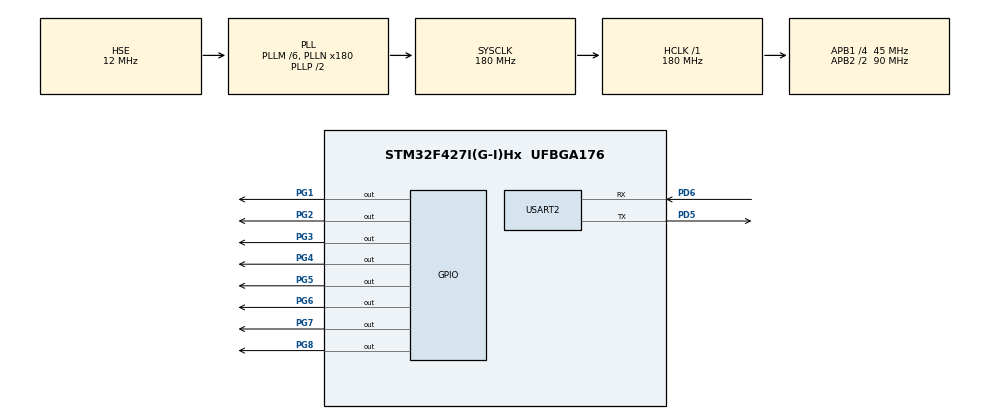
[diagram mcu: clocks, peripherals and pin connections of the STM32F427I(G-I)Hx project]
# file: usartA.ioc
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Dma.Request0=USART2_RX
Dma.Request1=USART2_TX
Dma.USART2_RX.0.Direction=DMA_PERIPH_TO_MEMORY
Dma.USART2_RX.0.FIFOMode=DMA_FIFOMODE_DISABLE
Dma.USART2_RX.0.Instance=DMA1_Stream5
Dma.USART2_RX.0.MemDataAlignment=DMA_MDATAALIGN_BYTE
Dma.USART2_RX.0.MemInc=DMA_MINC_ENABLE
Dma.USART2_RX.0.Mode=DMA_NORMAL
Dma.USART2_RX.0.PeriphDataAlignment=DMA_PDATAALIGN_BYTE
Dma.USART2_RX.0.PeriphInc=DMA_PINC_DISABLE
Dma.USART2_RX.0.Priority=DMA_PRIORITY_LOW
Dma.USART2_TX.1.Direction=DMA_MEMORY_TO_PERIPH
Dma.USART2_TX.1.FIFOMode=DMA_FIFOMODE_DISABLE
Dma.USART2_TX.1.Instance=DMA1_Stream6
Dma.USART2_TX.1.MemDataAlignment=DMA_MDATAALIGN_BYTE
Dma.USART2_TX.1.MemInc=DMA_MINC_ENABLE
Dma.USART2_TX.1.Mode=DMA_NORMAL
Dma.USART2_TX.1.PeriphDataAlignment=DMA_PDATAALIGN_BYTE
Dma.USART2_TX.1.PeriphInc=DMA_PINC_DISABLE
Dma.USART2_TX.1.Priority=DMA_PRIORITY_LOW
Mcu.Family=STM32F4
Mcu.Name=STM32F427I(G-I)Hx
Mcu.Package=UFBGA176
NVIC.DMA1_Stream5_IRQn=true\:0\:0\:false\:false\:true\:false\:true\:true
NVIC.DMA1_Stream6_IRQn=true\:0\:0\:false\:false\:true\:false\:true\:true
NVIC.PriorityGroup=NVIC_PRIORITYGROUP_4
NVIC.USART2_IRQn=true\:0\:0\:false\:false\:true\:false\:true\:true
PA13.Mode=Serial_Wire
PA13.Signal=SYS_JTMS-SWDIO
PA14.Mode=Serial_Wire
PA14.Signal=SYS_JTCK-SWCLK
PD5.Mode=Asynchronous
PD5.Signal=USART2_TX
PD6.Mode=Asynchronous
PD6.Signal=USART2_RX
PG1.GPIO_PuPd=GPIO_PULLUP
PG1.PinState=GPIO_PIN_SET
PG1.Signal=GPIO_Output
PG2.GPIO_PuPd=GPIO_PULLUP
PG2.PinState=GPIO_PIN_SET
PG2.Signal=GPIO_Output
PG3.GPIO_PuPd=GPIO_PULLUP
PG3.PinState=GPIO_PIN_SET
PG3.Signal=GPIO_Output
PG4.GPIO_PuPd=GPIO_PULLUP
PG4.PinState=GPIO_PIN_SET
PG4.Signal=GPIO_Output
PG5.GPIO_PuPd=GPIO_PULLUP
PG5.PinState=GPIO_PIN_SET
PG5.Signal=GPIO_Output
PG6.GPIO_PuPd=GPIO_PULLUP
PG6.PinState=GPIO_PIN_SET
PG6.Signal=GPIO_Output
PG7.GPIO_PuPd=GPIO_PULLUP
PG7.PinState=GPIO_PIN_SET
PG7.Signal=GPIO_Output
PG8.GPIO_PuPd=GPIO_PULLUP
PG8.PinState=GPIO_PIN_SET
PG8.Signal=GPIO_Output
PH0/OSC_IN.Mode=HSE-External-Oscillator
PH0/OSC_IN.Signal=RCC_OSC_IN
PH1/OSC_OUT.Mode=HSE-External-Oscillator
PH1/OSC_OUT.Signal=RCC_OSC_OUT
ProjectManager.HeapSize=0x200
ProjectManager.StackSize=0x400
ProjectManager.TargetToolchain=MDK-ARM V5.32
RCC.48MHZClocksFreq_Value=90000000
RCC.AHBFreq_Value=180000000
RCC.APB1CLKDivider=RCC_HCLK_DIV4
RCC.APB1Freq_Value=45000000
RCC.APB1TimFreq_Value=90000000
RCC.APB2CLKDivider=RCC_HCLK_DIV2
RCC.APB2Freq_Value=90000000
RCC.APB2TimFreq_Value=180000000
RCC.CortexFreq_Value=180000000
RCC.HCLKFreq_Value=180000000
RCC.HSE_VALUE=12000000
RCC.HSI_VALUE=16000000
RCC.LSE_VALUE=32768
RCC.PLLM=6
RCC.PLLN=180
RCC.PLLSourceVirtual=RCC_PLLSOURCE_HSE
RCC.SYSCLKFreq_VALUE=180000000
RCC.SYSCLKSource=RCC_SYSCLKSOURCE_PLLCLK
RCC.VCOOutputFreq_Value=360000000
USART2.VirtualMode=VM_ASYNC
board=custom

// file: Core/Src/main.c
/* USER CODE BEGIN Header */
/**
 ******************************************************************************
 * @file           : main.c
 * @brief          : Main program body
 ******************************************************************************
 * @attention
 *
 * Copyright (c) 2024 STMicroelectronics.
 * All rights reserved.
 *
 * This software is licensed under terms that can be found in the LICENSE file
 * in the root directory of this software component.
 * If no LICENSE file comes with this software, it is provided AS-IS.
 *
 ******************************************************************************
 */
/* USER CODE END Header */
#include "main.h"
#include "dma.h"
#include "usart.h"
#include "gpio.h"

/* USER CODE BEGIN PM */
#include "drv_bsp.h"
#include "drv_uart.h"
/* USER CODE END PM */

/* USER CODE BEGIN PV */
//uint8_t tx_buffer[9] = {0xAB};
uint8_t rx_buffer[10];
/* USER CODE END PV */

void SystemClock_Config(void);
/* USER CODE BEGIN PFP */
void serialplot_Call_Back(uint8_t *Buffer,uint16_t Length)
{
  if(rx_buffer[0]=='0')
  {
    BSP_LED_ALL(BSP_LED_Status_DISABLED);
  }
  else if(rx_buffer[0]=='1')
  {
    BSP_LED_ALL(BSP_LED_Status_ENABLED);

  }
  else if(rx_buffer[0]=='2')
  {
    HAL_GPIO_TogglePin(GPIOG,GPIO_PIN_All);
  }
}
/* USER CODE END PFP */

int main(void)
{

  /* MCU Configuration--------------------------------------------------------*/

  /* Reset of all peripherals, Initializes the Flash interface and the Systick. */
  HAL_Init();

  /* Configure the system clock */
  SystemClock_Config();

  /* Initialize all configured peripherals */
  MX_GPIO_Init();
  MX_DMA_Init();
  MX_USART2_UART_Init();
  /* USER CODE BEGIN 2 */
Uart_Init(&huart2, rx_buffer, 10, serialplot_Call_Back);
  /* USER CODE END 2 */

  /* Infinite loop */
  /* USER CODE BEGIN WHILE */

  while (1)
  {
    static uint32_t flag;
		UART2_Tx_Data[0]=0xAB;
    if(flag==2500)
    {
      flag=0;
    }
    float tmp_data;
    tmp_data=((float)flag/1000.0f)*((float)flag/1000.0f);

    for(uint8_t i=0;i<4;i++)
    {
      UART2_Tx_Data[i+1]=*((char*)(&tmp_data) + i);
    }

    float led_status;

    led_status = !HAL_GPIO_ReadPin(GPIOG,GPIO_PIN_All);

    for(uint8_t i=0;i<4;i++)
    {
      UART2_Tx_Data[i+5]=*((char *)(&led_status)+i);
    }

    HAL_Delay(0);
    flag++;
    UART_Send_Data(&huart2,UART2_Tx_Data,9);
    /* USER CODE END WHILE */

  }
}

void SystemClock_Config(void)
{
  RCC_OscInitTypeDef RCC_OscInitStruct = {0};
  RCC_ClkInitTypeDef RCC_ClkInitStruct = {0};

  /** Configure the main internal regulator output voltage
  */
  __HAL_RCC_PWR_CLK_ENABLE();
  __HAL_PWR_VOLTAGESCALING_CONFIG(PWR_REGULATOR_VOLTAGE_SCALE1);

  /** Initializes the RCC Oscillators according to the specified parameters
  * in the RCC_OscInitTypeDef structure.
  */
  RCC_OscInitStruct.OscillatorType = RCC_OSCILLATORTYPE_HSE;
  RCC_OscInitStruct.HSEState = RCC_HSE_ON;
  RCC_OscInitStruct.PLL.PLLState = RCC_PLL_ON;
  RCC_OscInitStruct.PLL.PLLSource = RCC_PLLSOURCE_HSE;
  RCC_OscInitStruct.PLL.PLLM = 6;
  RCC_OscInitStruct.PLL.PLLN = 180;
  RCC_OscInitStruct.PLL.PLLP = RCC_PLLP_DIV2;
  RCC_OscInitStruct.PLL.PLLQ = 4;
  if (HAL_RCC_OscConfig(&RCC_OscInitStruct) != HAL_OK)
  {
    Error_Handler();
  }

  /** Activate the Over-Drive mode
  */
  if (HAL_PWREx_EnableOverDrive() != HAL_OK)
  {
    Error_Handler();
  }

  /** Initializes the CPU, AHB and APB buses clocks
  */
  RCC_ClkInitStruct.ClockType = RCC_CLOCKTYPE_HCLK|RCC_CLOCKTYPE_SYSCLK
                              |RCC_CLOCKTYPE_PCLK1|RCC_CLOCKTYPE_PCLK2;
  RCC_ClkInitStruct.SYSCLKSource = RCC_SYSCLKSOURCE_PLLCLK;
  RCC_ClkInitStruct.AHBCLKDivider = RCC_SYSCLK_DIV1;
  RCC_ClkInitStruct.APB1CLKDivider = RCC_HCLK_DIV4;
  RCC_ClkInitStruct.APB2CLKDivider = RCC_HCLK_DIV2;

  if (HAL_RCC_ClockConfig(&RCC_ClkInitStruct, FLASH_LATENCY_5) != HAL_OK)
  {
    Error_Handler();
  }
}

void Error_Handler(void)
{
  __disable_irq();
  while (1)
  {
  }
}
